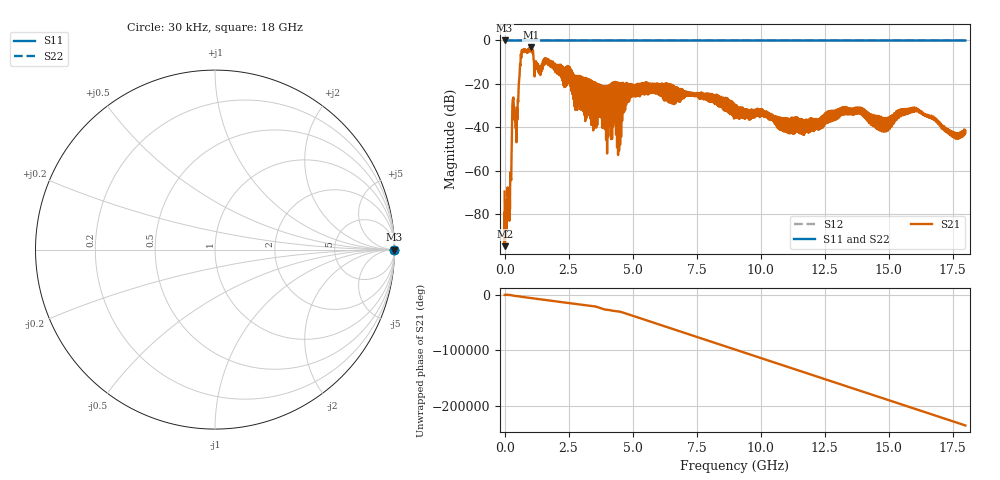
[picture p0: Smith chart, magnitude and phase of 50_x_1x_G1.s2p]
!Keysight Technologies N9918A: A.08.19
!Date: Monday, 02 October 2023 11:21:08
!Timezone: (GMT-08:00) Pacific Time (US & Canada)
!Model: N9918A
!Serial: MY53102120
!GPS Latitude:
!GPS Longitude:
!GPS TimeStamp: 0001-01-01 00:00:00Z
!GPS Seconds Since Last Read: 0
!CHECKSUM:0860187680
!Correction: S11()S21(Rdy)S12()S22()
!S2P File: Measurements:S11,S21,S12,S22:
# Hz S DB R 50
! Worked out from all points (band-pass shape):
!   5000 points, 30 kHz to 18 GHz, reference 50 ohm
!   highest |S21| = -3.22 dB at 1.03 GHz (marker M1); lowest = -94.8 dB at 7.231 MHz (marker M2)
!   |S21| within 3 dB of the highest: 659.2 MHz to 1.118 GHz (458.9 MHz wide, 51.6 % of centre)
!   lowest |S11| = 0.0 dB at 30 kHz (marker M3)
!   |S11| at or under -10 dB: nowhere
!   |S22| runs from 0.0 to 0.0 dB; largest |S21 - S12| = 1.6
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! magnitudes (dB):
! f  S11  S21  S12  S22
! 30 kHz  0.0  -69.6  0.0  0.0
! 7.231 MHz  0.0  -94.8  0.0  0.0
! 118.9 MHz  0.0  -67.7  0.0  0.0
! 172.9 MHz  0.0  -78.8  0.0  0.0
! 302.5 MHz  0.0  -30.5  0.0  0.0
! 352.9 MHz  0.0  -28.7  0.0  0.0
! 478.9 MHz  0.0  -31.7  0.0  0.0
! 669.8 MHz  0.0  -4.6  0.0  0.0
! 1.03 GHz  0.0  -3.2  0.0  0.0
! 1.242 GHz  0.0  -12.1  0.0  0.0
! 1.649 GHz  0.0  -8.4  0.0  0.0
! 3.003 GHz  0.0  -20.5  0.0  0.0
! 3.964 GHz  0.0  -45.8  0.0  0.0
! 6.002 GHz  0.0  -20.9  0.0  0.0
! 8.116 GHz  0.0  -24.7  0.0  0.0
! 9.002 GHz  0.0  -35.5  0.0  0.0
! 12 GHz  0.0  -41.0  0.0  0.0
! 13.27 GHz  0.0  -30.8  0.0  0.0
! 15 GHz  0.0  -39.2  0.0  0.0
! 16.08 GHz  0.0  -31.1  0.0  0.0
! 17.54 GHz  0.0  -44.7  0.0  0.0
! 18 GHz  0.0  -42.4  0.0  0.0
